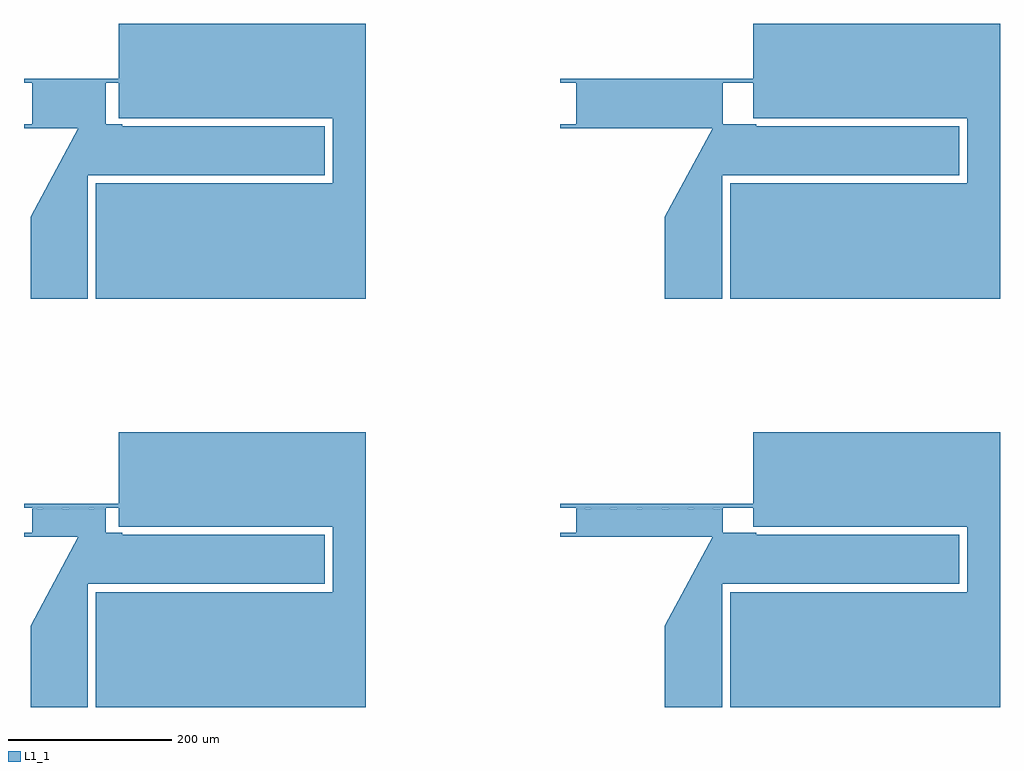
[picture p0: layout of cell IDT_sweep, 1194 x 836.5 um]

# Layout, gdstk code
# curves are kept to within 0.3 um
import gdstk
lib = gdstk.Library(unit=1e-6, precision=1e-09)
def P(c, l, *ps):  # polygons
    for p in ps: c.add(gdstk.Polygon(p, *l))
L1_1 = (1, 1)

idt_sweep = lib.new_cell('IDT_sweep')
P(idt_sweep, L1_1, [(2480,-216.5),(2480,-116.5),(2538.649,-8),(2352,-8),(2352,-3),(2371.355,-3),(2371.355,26.75),(2371.8,26.75),(2371.8,-3),(2373.155,-3),(2373.155,26.75),(2373.6,26.75),(2373.6,-3),(2374.955,-3),(2374.955,26.75),(2375.4,26.75),(2375.4,-3),(2376.755,-3),(2376.755,26.75),(2377.2,26.75),(2377.2,-3),(2378.555,-3),(2378.555,26.75),(2379,26.75),(2379,-3),(2380.355,-3),(2380.355,26.75),(2380.8,26.75),(2380.8,-3),(2382.155,-3),(2382.155,26.75),(2382.6,26.75),(2382.6,-3),(2383.955,-3),(2383.955,26.75),(2384.4,26.75),(2384.4,-3),(2385.755,-3),(2385.755,26.75),(2386.2,26.75),(2386.2,-3),(2387.555,-3),(2387.555,26.75),(2388,26.75),(2388,-3),(2389.355,-3),(2389.355,26.75),(2389.8,26.75),(2389.8,-3),(2391.155,-3),(2391.155,26.75),(2391.6,26.75),(2391.6,-3),(2392.955,-3),(2392.955,26.75),(2393.4,26.75),(2393.4,-3),(2394.755,-3),(2394.755,26.75),(2395.2,26.75),(2395.2,-3),(2396.555,-3),(2396.555,26.75),(2397,26.75),(2397,-3),(2398.355,-3),(2398.355,26.75),(2398.8,26.75),(2398.8,-3),(2400.155,-3),(2400.155,26.75),(2400.6,26.75),(2400.6,-3),(2401.955,-3),(2401.955,26.75),(2402.4,26.75),(2402.4,-3),(2403.755,-3),(2403.755,26.75),(2404.2,26.75),(2404.2,-3),(2405.555,-3),(2405.555,26.75),(2406,26.75),(2406,-3),(2407.355,-3),(2407.355,26.75),(2407.8,26.75),(2407.8,-3),(2409.155,-3),(2409.155,26.75),(2409.6,26.75),(2409.6,-3),(2410.955,-3),(2410.955,26.75),(2411.4,26.75),(2411.4,-3),(2412.755,-3),(2412.755,26.75),(2413.2,26.75),(2413.2,-3),(2414.555,-3),(2414.555,26.75),(2415,26.75),(2415,-3),(2416.355,-3),(2416.355,26.75),(2416.8,26.75),(2416.8,-3),(2418.155,-3),(2418.155,26.75),(2418.6,26.75),(2418.6,-3),(2419.955,-3),(2419.955,26.75),(2420.4,26.75),(2420.4,-3),(2421.755,-3),(2421.755,26.75),(2422.2,26.75),(2422.2,-3),(2423.555,-3),(2423.555,26.75),(2424,26.75),(2424,-3),(2425.355,-3),(2425.355,26.75),(2425.8,26.75),(2425.8,-3),(2427.155,-3),(2427.155,26.75),(2427.6,26.75),(2427.6,-3),(2428.955,-3),(2428.955,26.75),(2429.4,26.75),(2429.4,-3),(2430.755,-3),(2430.755,26.75),(2431.2,26.75),(2431.2,-3),(2432.555,-3),(2432.555,26.75),(2433,26.75),(2433,-3),(2434.355,-3),(2434.355,26.75),(2434.8,26.75),(2434.8,-3),(2436.155,-3),(2436.155,26.75),(2436.6,26.75),(2436.6,-3),(2437.955,-3),(2437.955,26.75),(2438.4,26.75),(2438.4,-3),(2439.755,-3),(2439.755,26.75),(2440.2,26.75),(2440.2,-3),(2441.555,-3),(2441.555,26.75),(2442,26.75),(2442,-3),(2443.355,-3),(2443.355,26.75),(2443.8,26.75),(2443.8,-3),(2445.155,-3),(2445.155,26.75),(2445.6,26.75),(2445.6,-3),(2446.955,-3),(2446.955,26.75),(2447.4,26.75),(2447.4,-3),(2448.755,-3),(2448.755,26.75),(2449.2,26.75),(2449.2,-3),(2450.555,-3),(2450.555,26.75),(2451,26.75),(2451,-3),(2452.355,-3),(2452.355,26.75),(2452.8,26.75),(2452.8,-3),(2454.155,-3),(2454.155,26.75),(2454.6,26.75),(2454.6,-3),(2455.955,-3),(2455.955,26.75),(2456.4,26.75),(2456.4,-3),(2457.755,-3),(2457.755,26.75),(2458.2,26.75),(2458.2,-3),(2459.555,-3),(2459.555,26.75),(2460,26.75),(2460,-3),(2461.355,-3),(2461.355,26.75),(2461.8,26.75),(2461.8,-3),(2463.155,-3),(2463.155,26.75),(2463.6,26.75),(2463.6,-3),(2464.955,-3),(2464.955,26.75),(2465.4,26.75),(2465.4,-3),(2466.755,-3),(2466.755,26.75),(2467.2,26.75),(2467.2,-3),(2468.555,-3),(2468.555,26.75),(2469,26.75),(2469,-3),(2470.355,-3),(2470.355,26.75),(2470.8,26.75),(2470.8,-3),(2472.155,-3),(2472.155,26.75),(2472.6,26.75),(2472.6,-3),(2473.955,-3),(2473.955,26.75),(2474.4,26.75),(2474.4,-3),(2475.755,-3),(2475.755,26.75),(2476.2,26.75),(2476.2,-3),(2477.555,-3),(2477.555,26.75),(2478,26.75),(2478,-3),(2479.355,-3),(2479.355,26.75),(2479.8,26.75),(2479.8,-3),(2481.155,-3),(2481.155,26.75),(2481.6,26.75),(2481.6,-3),(2482.955,-3),(2482.955,26.75),(2483.4,26.75),(2483.4,-3),(2484.755,-3),(2484.755,26.75),(2485.2,26.75),(2485.2,-3),(2486.555,-3),(2486.555,26.75),(2487,26.75),(2487,-3),(2488.355,-3),(2488.355,26.75),(2488.8,26.75),(2488.8,-3),(2490.155,-3),(2490.155,26.75),(2490.6,26.75),(2490.6,-3),(2491.955,-3),(2491.955,26.75),(2492.4,26.75),(2492.4,-3),(2493.755,-3),(2493.755,26.75),(2494.2,26.75),(2494.2,-3),(2495.555,-3),(2495.555,26.75),(2496,26.75),(2496,-3),(2497.355,-3),(2497.355,26.75),(2497.8,26.75),(2497.8,-3),(2499.155,-3),(2499.155,26.75),(2499.6,26.75),(2499.6,-3),(2500.955,-3),(2500.955,26.75),(2501.4,26.75),(2501.4,-3),(2502.755,-3),(2502.755,26.75),(2503.2,26.75),(2503.2,-3),(2504.555,-3),(2504.555,26.75),(2505,26.75),(2505,-3),(2506.355,-3),(2506.355,26.75),(2506.8,26.75),(2506.8,-3),(2508.155,-3),(2508.155,26.75),(2508.6,26.75),(2508.6,-3),(2509.955,-3),(2509.955,26.75),(2510.4,26.75),(2510.4,-3),(2511.755,-3),(2511.755,26.75),(2512.2,26.75),(2512.2,-3),(2513.555,-3),(2513.555,26.75),(2514,26.75),(2514,-3),(2515.355,-3),(2515.355,26.75),(2515.8,26.75),(2515.8,-3),(2517.155,-3),(2517.155,26.75),(2517.6,26.75),(2517.6,-3),(2518.955,-3),(2518.955,26.75),(2519.4,26.75),(2519.4,-3),(2520.755,-3),(2520.755,26.75),(2521.2,26.75),(2521.2,-3),(2522.555,-3),(2522.555,26.75),(2523,26.75),(2523,-3),(2524.355,-3),(2524.355,26.75),(2524.8,26.75),(2524.8,-3),(2526.155,-3),(2526.155,26.75),(2526.6,26.75),(2526.6,-3),(2527.955,-3),(2527.955,26.75),(2528.4,26.75),(2528.4,-3),(2529.755,-3),(2529.755,26.75),(2530.2,26.75),(2530.2,-3),(2531.555,-3),(2531.555,26.75),(2532,26.75),(2532,-3),(2533.355,-3),(2533.355,26.75),(2533.8,26.75),(2533.8,-3),(2535.155,-3),(2535.155,26.75),(2535.6,26.75),(2535.6,-3),(2536.955,-3),(2536.955,26.75),(2537.4,26.75),(2537.4,-3),(2538.755,-3),(2538.755,26.75),(2539.2,26.75),(2539.2,-3),(2540.555,-3),(2540.555,26.75),(2541,26.75),(2541,-3),(2542.355,-3),(2542.355,26.75),(2542.8,26.75),(2542.8,-3),(2544.155,-3),(2544.155,26.75),(2544.6,26.75),(2544.6,-3),(2545.955,-3),(2545.955,26.75),(2546.4,26.75),(2546.4,-3),(2547.755,-3),(2547.755,26.75),(2548.2,26.75),(2548.2,-3),(2549.555,-3),(2549.555,26.75),(2550,26.75),(2550,-3),(2592,-3),(2592,-5.5),(2840,-5.5),(2840,-65.5),(2550,-65.5),(2550,-216.5)],
  [(2560,-216.5),(2560,-75.5),(2850,-75.5),(2850,4.5),(2588,4.5),(2588,27.5),(2550.9,27.5),(2550.9,-2.25),(2550.455,-2.25),(2550.455,27.5),(2549.1,27.5),(2549.1,-2.25),(2548.655,-2.25),(2548.655,27.5),(2547.3,27.5),(2547.3,-2.25),(2546.855,-2.25),(2546.855,27.5),(2545.5,27.5),(2545.5,-2.25),(2545.055,-2.25),(2545.055,27.5),(2543.7,27.5),(2543.7,-2.25),(2543.255,-2.25),(2543.255,27.5),(2541.9,27.5),(2541.9,-2.25),(2541.455,-2.25),(2541.455,27.5),(2540.1,27.5),(2540.1,-2.25),(2539.655,-2.25),(2539.655,27.5),(2538.3,27.5),(2538.3,-2.25),(2537.855,-2.25),(2537.855,27.5),(2536.5,27.5),(2536.5,-2.25),(2536.055,-2.25),(2536.055,27.5),(2534.7,27.5),(2534.7,-2.25),(2534.255,-2.25),(2534.255,27.5),(2532.9,27.5),(2532.9,-2.25),(2532.455,-2.25),(2532.455,27.5),(2531.1,27.5),(2531.1,-2.25),(2530.655,-2.25),(2530.655,27.5),(2529.3,27.5),(2529.3,-2.25),(2528.855,-2.25),(2528.855,27.5),(2527.5,27.5),(2527.5,-2.25),(2527.055,-2.25),(2527.055,27.5),(2525.7,27.5),(2525.7,-2.25),(2525.255,-2.25),(2525.255,27.5),(2523.9,27.5),(2523.9,-2.25),(2523.455,-2.25),(2523.455,27.5),(2522.1,27.5),(2522.1,-2.25),(2521.655,-2.25),(2521.655,27.5),(2520.3,27.5),(2520.3,-2.25),(2519.855,-2.25),(2519.855,27.5),(2518.5,27.5),(2518.5,-2.25),(2518.055,-2.25),(2518.055,27.5),(2516.7,27.5),(2516.7,-2.25),(2516.255,-2.25),(2516.255,27.5),(2514.9,27.5),(2514.9,-2.25),(2514.455,-2.25),(2514.455,27.5),(2513.1,27.5),(2513.1,-2.25),(2512.655,-2.25),(2512.655,27.5),(2511.3,27.5),(2511.3,-2.25),(2510.855,-2.25),(2510.855,27.5),(2509.5,27.5),(2509.5,-2.25),(2509.055,-2.25),(2509.055,27.5),(2507.7,27.5),(2507.7,-2.25),(2507.255,-2.25),(2507.255,27.5),(2505.9,27.5),(2505.9,-2.25),(2505.455,-2.25),(2505.455,27.5),(2504.1,27.5),(2504.1,-2.25),(2503.655,-2.25),(2503.655,27.5),(2502.3,27.5),(2502.3,-2.25),(2501.855,-2.25),(2501.855,27.5),(2500.5,27.5),(2500.5,-2.25),(2500.055,-2.25),(2500.055,27.5),(2498.7,27.5),(2498.7,-2.25),(2498.255,-2.25),(2498.255,27.5),(2496.9,27.5),(2496.9,-2.25),(2496.455,-2.25),(2496.455,27.5),(2495.1,27.5),(2495.1,-2.25),(2494.655,-2.25),(2494.655,27.5),(2493.3,27.5),(2493.3,-2.25),(2492.855,-2.25),(2492.855,27.5),(2491.5,27.5),(2491.5,-2.25),(2491.055,-2.25),(2491.055,27.5),(2489.7,27.5),(2489.7,-2.25),(2489.255,-2.25),(2489.255,27.5),(2487.9,27.5),(2487.9,-2.25),(2487.455,-2.25),(2487.455,27.5),(2486.1,27.5),(2486.1,-2.25),(2485.655,-2.25),(2485.655,27.5),(2484.3,27.5),(2484.3,-2.25),(2483.855,-2.25),(2483.855,27.5),(2482.5,27.5),(2482.5,-2.25),(2482.055,-2.25),(2482.055,27.5),(2480.7,27.5),(2480.7,-2.25),(2480.255,-2.25),(2480.255,27.5),(2478.9,27.5),(2478.9,-2.25),(2478.455,-2.25),(2478.455,27.5),(2477.1,27.5),(2477.1,-2.25),(2476.655,-2.25),(2476.655,27.5),(2475.3,27.5),(2475.3,-2.25),(2474.855,-2.25),(2474.855,27.5),(2473.5,27.5),(2473.5,-2.25),(2473.055,-2.25),(2473.055,27.5),(2471.7,27.5),(2471.7,-2.25),(2471.255,-2.25),(2471.255,27.5),(2469.9,27.5),(2469.9,-2.25),(2469.455,-2.25),(2469.455,27.5),(2468.1,27.5),(2468.1,-2.25),(2467.655,-2.25),(2467.655,27.5),(2466.3,27.5),(2466.3,-2.25),(2465.855,-2.25),(2465.855,27.5),(2464.5,27.5),(2464.5,-2.25),(2464.055,-2.25),(2464.055,27.5),(2462.7,27.5),(2462.7,-2.25),(2462.255,-2.25),(2462.255,27.5),(2460.9,27.5),(2460.9,-2.25),(2460.455,-2.25),(2460.455,27.5),(2459.1,27.5),(2459.1,-2.25),(2458.655,-2.25),(2458.655,27.5),(2457.3,27.5),(2457.3,-2.25),(2456.855,-2.25),(2456.855,27.5),(2455.5,27.5),(2455.5,-2.25),(2455.055,-2.25),(2455.055,27.5),(2453.7,27.5),(2453.7,-2.25),(2453.255,-2.25),(2453.255,27.5),(2451.9,27.5),(2451.9,-2.25),(2451.455,-2.25),(2451.455,27.5),(2450.1,27.5),(2450.1,-2.25),(2449.655,-2.25),(2449.655,27.5),(2448.3,27.5),(2448.3,-2.25),(2447.855,-2.25),(2447.855,27.5),(2446.5,27.5),(2446.5,-2.25),(2446.055,-2.25),(2446.055,27.5),(2444.7,27.5),(2444.7,-2.25),(2444.255,-2.25),(2444.255,27.5),(2442.9,27.5),(2442.9,-2.25),(2442.455,-2.25),(2442.455,27.5),(2441.1,27.5),(2441.1,-2.25),(2440.655,-2.25),(2440.655,27.5),(2439.3,27.5),(2439.3,-2.25),(2438.855,-2.25),(2438.855,27.5),(2437.5,27.5),(2437.5,-2.25),(2437.055,-2.25),(2437.055,27.5),(2435.7,27.5),(2435.7,-2.25),(2435.255,-2.25),(2435.255,27.5),(2433.9,27.5),(2433.9,-2.25),(2433.455,-2.25),(2433.455,27.5),(2432.1,27.5),(2432.1,-2.25),(2431.655,-2.25),(2431.655,27.5),(2430.3,27.5),(2430.3,-2.25),(2429.855,-2.25),(2429.855,27.5),(2428.5,27.5),(2428.5,-2.25),(2428.055,-2.25),(2428.055,27.5),(2426.7,27.5),(2426.7,-2.25),(2426.255,-2.25),(2426.255,27.5),(2424.9,27.5),(2424.9,-2.25),(2424.455,-2.25),(2424.455,27.5),(2423.1,27.5),(2423.1,-2.25),(2422.655,-2.25),(2422.655,27.5),(2421.3,27.5),(2421.3,-2.25),(2420.855,-2.25),(2420.855,27.5),(2419.5,27.5),(2419.5,-2.25),(2419.055,-2.25),(2419.055,27.5),(2417.7,27.5),(2417.7,-2.25),(2417.255,-2.25),(2417.255,27.5),(2415.9,27.5),(2415.9,-2.25),(2415.455,-2.25),(2415.455,27.5),(2414.1,27.5),(2414.1,-2.25),(2413.655,-2.25),(2413.655,27.5),(2412.3,27.5),(2412.3,-2.25),(2411.855,-2.25),(2411.855,27.5),(2410.5,27.5),(2410.5,-2.25),(2410.055,-2.25),(2410.055,27.5),(2408.7,27.5),(2408.7,-2.25),(2408.255,-2.25),(2408.255,27.5),(2406.9,27.5),(2406.9,-2.25),(2406.455,-2.25),(2406.455,27.5),(2405.1,27.5),(2405.1,-2.25),(2404.655,-2.25),(2404.655,27.5),(2403.3,27.5),(2403.3,-2.25),(2402.855,-2.25),(2402.855,27.5),(2401.5,27.5),(2401.5,-2.25),(2401.055,-2.25),(2401.055,27.5),(2399.7,27.5),(2399.7,-2.25),(2399.255,-2.25),(2399.255,27.5),(2397.9,27.5),(2397.9,-2.25),(2397.455,-2.25),(2397.455,27.5),(2396.1,27.5),(2396.1,-2.25),(2395.655,-2.25),(2395.655,27.5),(2394.3,27.5),(2394.3,-2.25),(2393.855,-2.25),(2393.855,27.5),(2392.5,27.5),(2392.5,-2.25),(2392.055,-2.25),(2392.055,27.5),(2390.7,27.5),(2390.7,-2.25),(2390.255,-2.25),(2390.255,27.5),(2388.9,27.5),(2388.9,-2.25),(2388.455,-2.25),(2388.455,27.5),(2387.1,27.5),(2387.1,-2.25),(2386.655,-2.25),(2386.655,27.5),(2385.3,27.5),(2385.3,-2.25),(2384.855,-2.25),(2384.855,27.5),(2383.5,27.5),(2383.5,-2.25),(2383.055,-2.25),(2383.055,27.5),(2381.7,27.5),(2381.7,-2.25),(2381.255,-2.25),(2381.255,27.5),(2379.9,27.5),(2379.9,-2.25),(2379.455,-2.25),(2379.455,27.5),(2378.1,27.5),(2378.1,-2.25),(2377.655,-2.25),(2377.655,27.5),(2376.3,27.5),(2376.3,-2.25),(2375.855,-2.25),(2375.855,27.5),(2374.5,27.5),(2374.5,-2.25),(2374.055,-2.25),(2374.055,27.5),(2372.7,27.5),(2372.7,-2.25),(2372.255,-2.25),(2372.255,27.5),(2352,27.5),(2352,32.5),(2588,32.5),(2588,120),(2890,120),(2890,-216.5),(2560,-216.5)],
  [(2480,283.5),(2480,383.5),(2538.649,492),(2352,492),(2352,497),(2371.355,497),(2371.355,546.75),(2371.8,546.75),(2371.8,497),(2373.155,497),(2373.155,546.75),(2373.6,546.75),(2373.6,497),(2374.955,497),(2374.955,546.75),(2375.4,546.75),(2375.4,497),(2376.755,497),(2376.755,546.75),(2377.2,546.75),(2377.2,497),(2378.555,497),(2378.555,546.75),(2379,546.75),(2379,497),(2380.355,497),(2380.355,546.75),(2380.8,546.75),(2380.8,497),(2382.155,497),(2382.155,546.75),(2382.6,546.75),(2382.6,497),(2383.955,497),(2383.955,546.75),(2384.4,546.75),(2384.4,497),(2385.755,497),(2385.755,546.75),(2386.2,546.75),(2386.2,497),(2387.555,497),(2387.555,546.75),(2388,546.75),(2388,497),(2389.355,497),(2389.355,546.75),(2389.8,546.75),(2389.8,497),(2391.155,497),(2391.155,546.75),(2391.6,546.75),(2391.6,497),(2392.955,497),(2392.955,546.75),(2393.4,546.75),(2393.4,497),(2394.755,497),(2394.755,546.75),(2395.2,546.75),(2395.2,497),(2396.555,497),(2396.555,546.75),(2397,546.75),(2397,497),(2398.355,497),(2398.355,546.75),(2398.8,546.75),(2398.8,497),(2400.155,497),(2400.155,546.75),(2400.6,546.75),(2400.6,497),(2401.955,497),(2401.955,546.75),(2402.4,546.75),(2402.4,497),(2403.755,497),(2403.755,546.75),(2404.2,546.75),(2404.2,497),(2405.555,497),(2405.555,546.75),(2406,546.75),(2406,497),(2407.355,497),(2407.355,546.75),(2407.8,546.75),(2407.8,497),(2409.155,497),(2409.155,546.75),(2409.6,546.75),(2409.6,497),(2410.955,497),(2410.955,546.75),(2411.4,546.75),(2411.4,497),(2412.755,497),(2412.755,546.75),(2413.2,546.75),(2413.2,497),(2414.555,497),(2414.555,546.75),(2415,546.75),(2415,497),(2416.355,497),(2416.355,546.75),(2416.8,546.75),(2416.8,497),(2418.155,497),(2418.155,546.75),(2418.6,546.75),(2418.6,497),(2419.955,497),(2419.955,546.75),(2420.4,546.75),(2420.4,497),(2421.755,497),(2421.755,546.75),(2422.2,546.75),(2422.2,497),(2423.555,497),(2423.555,546.75),(2424,546.75),(2424,497),(2425.355,497),(2425.355,546.75),(2425.8,546.75),(2425.8,497),(2427.155,497),(2427.155,546.75),(2427.6,546.75),(2427.6,497),(2428.955,497),(2428.955,546.75),(2429.4,546.75),(2429.4,497),(2430.755,497),(2430.755,546.75),(2431.2,546.75),(2431.2,497),(2432.555,497),(2432.555,546.75),(2433,546.75),(2433,497),(2434.355,497),(2434.355,546.75),(2434.8,546.75),(2434.8,497),(2436.155,497),(2436.155,546.75),(2436.6,546.75),(2436.6,497),(2437.955,497),(2437.955,546.75),(2438.4,546.75),(2438.4,497),(2439.755,497),(2439.755,546.75),(2440.2,546.75),(2440.2,497),(2441.555,497),(2441.555,546.75),(2442,546.75),(2442,497),(2443.355,497),(2443.355,546.75),(2443.8,546.75),(2443.8,497),(2445.155,497),(2445.155,546.75),(2445.6,546.75),(2445.6,497),(2446.955,497),(2446.955,546.75),(2447.4,546.75),(2447.4,497),(2448.755,497),(2448.755,546.75),(2449.2,546.75),(2449.2,497),(2450.555,497),(2450.555,546.75),(2451,546.75),(2451,497),(2452.355,497),(2452.355,546.75),(2452.8,546.75),(2452.8,497),(2454.155,497),(2454.155,546.75),(2454.6,546.75),(2454.6,497),(2455.955,497),(2455.955,546.75),(2456.4,546.75),(2456.4,497),(2457.755,497),(2457.755,546.75),(2458.2,546.75),(2458.2,497),(2459.555,497),(2459.555,546.75),(2460,546.75),(2460,497),(2461.355,497),(2461.355,546.75),(2461.8,546.75),(2461.8,497),(2463.155,497),(2463.155,546.75),(2463.6,546.75),(2463.6,497),(2464.955,497),(2464.955,546.75),(2465.4,546.75),(2465.4,497),(2466.755,497),(2466.755,546.75),(2467.2,546.75),(2467.2,497),(2468.555,497),(2468.555,546.75),(2469,546.75),(2469,497),(2470.355,497),(2470.355,546.75),(2470.8,546.75),(2470.8,497),(2472.155,497),(2472.155,546.75),(2472.6,546.75),(2472.6,497),(2473.955,497),(2473.955,546.75),(2474.4,546.75),(2474.4,497),(2475.755,497),(2475.755,546.75),(2476.2,546.75),(2476.2,497),(2477.555,497),(2477.555,546.75),(2478,546.75),(2478,497),(2479.355,497),(2479.355,546.75),(2479.8,546.75),(2479.8,497),(2481.155,497),(2481.155,546.75),(2481.6,546.75),(2481.6,497),(2482.955,497),(2482.955,546.75),(2483.4,546.75),(2483.4,497),(2484.755,497),(2484.755,546.75),(2485.2,546.75),(2485.2,497),(2486.555,497),(2486.555,546.75),(2487,546.75),(2487,497),(2488.355,497),(2488.355,546.75),(2488.8,546.75),(2488.8,497),(2490.155,497),(2490.155,546.75),(2490.6,546.75),(2490.6,497),(2491.955,497),(2491.955,546.75),(2492.4,546.75),(2492.4,497),(2493.755,497),(2493.755,546.75),(2494.2,546.75),(2494.2,497),(2495.555,497),(2495.555,546.75),(2496,546.75),(2496,497),(2497.355,497),(2497.355,546.75),(2497.8,546.75),(2497.8,497),(2499.155,497),(2499.155,546.75),(2499.6,546.75),(2499.6,497),(2500.955,497),(2500.955,546.75),(2501.4,546.75),(2501.4,497),(2502.755,497),(2502.755,546.75),(2503.2,546.75),(2503.2,497),(2504.555,497),(2504.555,546.75),(2505,546.75),(2505,497),(2506.355,497),(2506.355,546.75),(2506.8,546.75),(2506.8,497),(2508.155,497),(2508.155,546.75),(2508.6,546.75),(2508.6,497),(2509.955,497),(2509.955,546.75),(2510.4,546.75),(2510.4,497),(2511.755,497),(2511.755,546.75),(2512.2,546.75),(2512.2,497),(2513.555,497),(2513.555,546.75),(2514,546.75),(2514,497),(2515.355,497),(2515.355,546.75),(2515.8,546.75),(2515.8,497),(2517.155,497),(2517.155,546.75),(2517.6,546.75),(2517.6,497),(2518.955,497),(2518.955,546.75),(2519.4,546.75),(2519.4,497),(2520.755,497),(2520.755,546.75),(2521.2,546.75),(2521.2,497),(2522.555,497),(2522.555,546.75),(2523,546.75),(2523,497),(2524.355,497),(2524.355,546.75),(2524.8,546.75),(2524.8,497),(2526.155,497),(2526.155,546.75),(2526.6,546.75),(2526.6,497),(2527.955,497),(2527.955,546.75),(2528.4,546.75),(2528.4,497),(2529.755,497),(2529.755,546.75),(2530.2,546.75),(2530.2,497),(2531.555,497),(2531.555,546.75),(2532,546.75),(2532,497),(2533.355,497),(2533.355,546.75),(2533.8,546.75),(2533.8,497),(2535.155,497),(2535.155,546.75),(2535.6,546.75),(2535.6,497),(2536.955,497),(2536.955,546.75),(2537.4,546.75),(2537.4,497),(2538.755,497),(2538.755,546.75),(2539.2,546.75),(2539.2,497),(2540.555,497),(2540.555,546.75),(2541,546.75),(2541,497),(2542.355,497),(2542.355,546.75),(2542.8,546.75),(2542.8,497),(2544.155,497),(2544.155,546.75),(2544.6,546.75),(2544.6,497),(2545.955,497),(2545.955,546.75),(2546.4,546.75),(2546.4,497),(2547.755,497),(2547.755,546.75),(2548.2,546.75),(2548.2,497),(2549.555,497),(2549.555,546.75),(2550,546.75),(2550,497),(2592,497),(2592,494.5),(2840,494.5),(2840,434.5),(2550,434.5),(2550,283.5)],
  [(2560,283.5),(2560,424.5),(2850,424.5),(2850,504.5),(2588,504.5),(2588,547.5),(2550.9,547.5),(2550.9,497.75),(2550.455,497.75),(2550.455,547.5),(2549.1,547.5),(2549.1,497.75),(2548.655,497.75),(2548.655,547.5),(2547.3,547.5),(2547.3,497.75),(2546.855,497.75),(2546.855,547.5),(2545.5,547.5),(2545.5,497.75),(2545.055,497.75),(2545.055,547.5),(2543.7,547.5),(2543.7,497.75),(2543.255,497.75),(2543.255,547.5),(2541.9,547.5),(2541.9,497.75),(2541.455,497.75),(2541.455,547.5),(2540.1,547.5),(2540.1,497.75),(2539.655,497.75),(2539.655,547.5),(2538.3,547.5),(2538.3,497.75),(2537.855,497.75),(2537.855,547.5),(2536.5,547.5),(2536.5,497.75),(2536.055,497.75),(2536.055,547.5),(2534.7,547.5),(2534.7,497.75),(2534.255,497.75),(2534.255,547.5),(2532.9,547.5),(2532.9,497.75),(2532.455,497.75),(2532.455,547.5),(2531.1,547.5),(2531.1,497.75),(2530.655,497.75),(2530.655,547.5),(2529.3,547.5),(2529.3,497.75),(2528.855,497.75),(2528.855,547.5),(2527.5,547.5),(2527.5,497.75),(2527.055,497.75),(2527.055,547.5),(2525.7,547.5),(2525.7,497.75),(2525.255,497.75),(2525.255,547.5),(2523.9,547.5),(2523.9,497.75),(2523.455,497.75),(2523.455,547.5),(2522.1,547.5),(2522.1,497.75),(2521.655,497.75),(2521.655,547.5),(2520.3,547.5),(2520.3,497.75),(2519.855,497.75),(2519.855,547.5),(2518.5,547.5),(2518.5,497.75),(2518.055,497.75),(2518.055,547.5),(2516.7,547.5),(2516.7,497.75),(2516.255,497.75),(2516.255,547.5),(2514.9,547.5),(2514.9,497.75),(2514.455,497.75),(2514.455,547.5),(2513.1,547.5),(2513.1,497.75),(2512.655,497.75),(2512.655,547.5),(2511.3,547.5),(2511.3,497.75),(2510.855,497.75),(2510.855,547.5),(2509.5,547.5),(2509.5,497.75),(2509.055,497.75),(2509.055,547.5),(2507.7,547.5),(2507.7,497.75),(2507.255,497.75),(2507.255,547.5),(2505.9,547.5),(2505.9,497.75),(2505.455,497.75),(2505.455,547.5),(2504.1,547.5),(2504.1,497.75),(2503.655,497.75),(2503.655,547.5),(2502.3,547.5),(2502.3,497.75),(2501.855,497.75),(2501.855,547.5),(2500.5,547.5),(2500.5,497.75),(2500.055,497.75),(2500.055,547.5),(2498.7,547.5),(2498.7,497.75),(2498.255,497.75),(2498.255,547.5),(2496.9,547.5),(2496.9,497.75),(2496.455,497.75),(2496.455,547.5),(2495.1,547.5),(2495.1,497.75),(2494.655,497.75),(2494.655,547.5),(2493.3,547.5),(2493.3,497.75),(2492.855,497.75),(2492.855,547.5),(2491.5,547.5),(2491.5,497.75),(2491.055,497.75),(2491.055,547.5),(2489.7,547.5),(2489.7,497.75),(2489.255,497.75),(2489.255,547.5),(2487.9,547.5),(2487.9,497.75),(2487.455,497.75),(2487.455,547.5),(2486.1,547.5),(2486.1,497.75),(2485.655,497.75),(2485.655,547.5),(2484.3,547.5),(2484.3,497.75),(2483.855,497.75),(2483.855,547.5),(2482.5,547.5),(2482.5,497.75),(2482.055,497.75),(2482.055,547.5),(2480.7,547.5),(2480.7,497.75),(2480.255,497.75),(2480.255,547.5),(2478.9,547.5),(2478.9,497.75),(2478.455,497.75),(2478.455,547.5),(2477.1,547.5),(2477.1,497.75),(2476.655,497.75),(2476.655,547.5),(2475.3,547.5),(2475.3,497.75),(2474.855,497.75),(2474.855,547.5),(2473.5,547.5),(2473.5,497.75),(2473.055,497.75),(2473.055,547.5),(2471.7,547.5),(2471.7,497.75),(2471.255,497.75),(2471.255,547.5),(2469.9,547.5),(2469.9,497.75),(2469.455,497.75),(2469.455,547.5),(2468.1,547.5),(2468.1,497.75),(2467.655,497.75),(2467.655,547.5),(2466.3,547.5),(2466.3,497.75),(2465.855,497.75),(2465.855,547.5),(2464.5,547.5),(2464.5,497.75),(2464.055,497.75),(2464.055,547.5),(2462.7,547.5),(2462.7,497.75),(2462.255,497.75),(2462.255,547.5),(2460.9,547.5),(2460.9,497.75),(2460.455,497.75),(2460.455,547.5),(2459.1,547.5),(2459.1,497.75),(2458.655,497.75),(2458.655,547.5),(2457.3,547.5),(2457.3,497.75),(2456.855,497.75),(2456.855,547.5),(2455.5,547.5),(2455.5,497.75),(2455.055,497.75),(2455.055,547.5),(2453.7,547.5),(2453.7,497.75),(2453.255,497.75),(2453.255,547.5),(2451.9,547.5),(2451.9,497.75),(2451.455,497.75),(2451.455,547.5),(2450.1,547.5),(2450.1,497.75),(2449.655,497.75),(2449.655,547.5),(2448.3,547.5),(2448.3,497.75),(2447.855,497.75),(2447.855,547.5),(2446.5,547.5),(2446.5,497.75),(2446.055,497.75),(2446.055,547.5),(2444.7,547.5),(2444.7,497.75),(2444.255,497.75),(2444.255,547.5),(2442.9,547.5),(2442.9,497.75),(2442.455,497.75),(2442.455,547.5),(2441.1,547.5),(2441.1,497.75),(2440.655,497.75),(2440.655,547.5),(2439.3,547.5),(2439.3,497.75),(2438.855,497.75),(2438.855,547.5),(2437.5,547.5),(2437.5,497.75),(2437.055,497.75),(2437.055,547.5),(2435.7,547.5),(2435.7,497.75),(2435.255,497.75),(2435.255,547.5),(2433.9,547.5),(2433.9,497.75),(2433.455,497.75),(2433.455,547.5),(2432.1,547.5),(2432.1,497.75),(2431.655,497.75),(2431.655,547.5),(2430.3,547.5),(2430.3,497.75),(2429.855,497.75),(2429.855,547.5),(2428.5,547.5),(2428.5,497.75),(2428.055,497.75),(2428.055,547.5),(2426.7,547.5),(2426.7,497.75),(2426.255,497.75),(2426.255,547.5),(2424.9,547.5),(2424.9,497.75),(2424.455,497.75),(2424.455,547.5),(2423.1,547.5),(2423.1,497.75),(2422.655,497.75),(2422.655,547.5),(2421.3,547.5),(2421.3,497.75),(2420.855,497.75),(2420.855,547.5),(2419.5,547.5),(2419.5,497.75),(2419.055,497.75),(2419.055,547.5),(2417.7,547.5),(2417.7,497.75),(2417.255,497.75),(2417.255,547.5),(2415.9,547.5),(2415.9,497.75),(2415.455,497.75),(2415.455,547.5),(2414.1,547.5),(2414.1,497.75),(2413.655,497.75),(2413.655,547.5),(2412.3,547.5),(2412.3,497.75),(2411.855,497.75),(2411.855,547.5),(2410.5,547.5),(2410.5,497.75),(2410.055,497.75),(2410.055,547.5),(2408.7,547.5),(2408.7,497.75),(2408.255,497.75),(2408.255,547.5),(2406.9,547.5),(2406.9,497.75),(2406.455,497.75),(2406.455,547.5),(2405.1,547.5),(2405.1,497.75),(2404.655,497.75),(2404.655,547.5),(2403.3,547.5),(2403.3,497.75),(2402.855,497.75),(2402.855,547.5),(2401.5,547.5),(2401.5,497.75),(2401.055,497.75),(2401.055,547.5),(2399.7,547.5),(2399.7,497.75),(2399.255,497.75),(2399.255,547.5),(2397.9,547.5),(2397.9,497.75),(2397.455,497.75),(2397.455,547.5),(2396.1,547.5),(2396.1,497.75),(2395.655,497.75),(2395.655,547.5),(2394.3,547.5),(2394.3,497.75),(2393.855,497.75),(2393.855,547.5),(2392.5,547.5),(2392.5,497.75),(2392.055,497.75),(2392.055,547.5),(2390.7,547.5),(2390.7,497.75),(2390.255,497.75),(2390.255,547.5),(2388.9,547.5),(2388.9,497.75),(2388.455,497.75),(2388.455,547.5),(2387.1,547.5),(2387.1,497.75),(2386.655,497.75),(2386.655,547.5),(2385.3,547.5),(2385.3,497.75),(2384.855,497.75),(2384.855,547.5),(2383.5,547.5),(2383.5,497.75),(2383.055,497.75),(2383.055,547.5),(2381.7,547.5),(2381.7,497.75),(2381.255,497.75),(2381.255,547.5),(2379.9,547.5),(2379.9,497.75),(2379.455,497.75),(2379.455,547.5),(2378.1,547.5),(2378.1,497.75),(2377.655,497.75),(2377.655,547.5),(2376.3,547.5),(2376.3,497.75),(2375.855,497.75),(2375.855,547.5),(2374.5,547.5),(2374.5,497.75),(2374.055,497.75),(2374.055,547.5),(2372.7,547.5),(2372.7,497.75),(2372.255,497.75),(2372.255,547.5),(2352,547.5),(2352,552.5),(2588,552.5),(2588,620),(2890,620),(2890,283.5),(2560,283.5)],
  [(1704,-216.5),(1704,-116.5),(1762.649,-8),(1696,-8),(1696,-3),(1706.355,-3),(1706.355,26.75),(1706.8,26.75),(1706.8,-3),(1708.155,-3),(1708.155,26.75),(1708.6,26.75),(1708.6,-3),(1709.955,-3),(1709.955,26.75),(1710.4,26.75),(1710.4,-3),(1711.755,-3),(1711.755,26.75),(1712.2,26.75),(1712.2,-3),(1713.555,-3),(1713.555,26.75),(1714,26.75),(1714,-3),(1715.355,-3),(1715.355,26.75),(1715.8,26.75),(1715.8,-3),(1717.155,-3),(1717.155,26.75),(1717.6,26.75),(1717.6,-3),(1718.955,-3),(1718.955,26.75),(1719.4,26.75),(1719.4,-3),(1720.755,-3),(1720.755,26.75),(1721.2,26.75),(1721.2,-3),(1722.555,-3),(1722.555,26.75),(1723,26.75),(1723,-3),(1724.355,-3),(1724.355,26.75),(1724.8,26.75),(1724.8,-3),(1726.155,-3),(1726.155,26.75),(1726.6,26.75),(1726.6,-3),(1727.955,-3),(1727.955,26.75),(1728.4,26.75),(1728.4,-3),(1729.755,-3),(1729.755,26.75),(1730.2,26.75),(1730.2,-3),(1731.555,-3),(1731.555,26.75),(1732,26.75),(1732,-3),(1733.355,-3),(1733.355,26.75),(1733.8,26.75),(1733.8,-3),(1735.155,-3),(1735.155,26.75),(1735.6,26.75),(1735.6,-3),(1736.955,-3),(1736.955,26.75),(1737.4,26.75),(1737.4,-3),(1738.755,-3),(1738.755,26.75),(1739.2,26.75),(1739.2,-3),(1740.555,-3),(1740.555,26.75),(1741,26.75),(1741,-3),(1742.355,-3),(1742.355,26.75),(1742.8,26.75),(1742.8,-3),(1744.155,-3),(1744.155,26.75),(1744.6,26.75),(1744.6,-3),(1745.955,-3),(1745.955,26.75),(1746.4,26.75),(1746.4,-3),(1747.755,-3),(1747.755,26.75),(1748.2,26.75),(1748.2,-3),(1749.555,-3),(1749.555,26.75),(1750,26.75),(1750,-3),(1751.355,-3),(1751.355,26.75),(1751.8,26.75),(1751.8,-3),(1753.155,-3),(1753.155,26.75),(1753.6,26.75),(1753.6,-3),(1754.955,-3),(1754.955,26.75),(1755.4,26.75),(1755.4,-3),(1756.755,-3),(1756.755,26.75),(1757.2,26.75),(1757.2,-3),(1758.555,-3),(1758.555,26.75),(1759,26.75),(1759,-3),(1760.355,-3),(1760.355,26.75),(1760.8,26.75),(1760.8,-3),(1762.155,-3),(1762.155,26.75),(1762.6,26.75),(1762.6,-3),(1763.955,-3),(1763.955,26.75),(1764.4,26.75),(1764.4,-3),(1765.755,-3),(1765.755,26.75),(1766.2,26.75),(1766.2,-3),(1767.555,-3),(1767.555,26.75),(1768,26.75),(1768,-3),(1769.355,-3),(1769.355,26.75),(1769.8,26.75),(1769.8,-3),(1771.155,-3),(1771.155,26.75),(1771.6,26.75),(1771.6,-3),(1772.955,-3),(1772.955,26.75),(1773.4,26.75),(1773.4,-3),(1774.755,-3),(1774.755,26.75),(1775.2,26.75),(1775.2,-3),(1776.555,-3),(1776.555,26.75),(1777,26.75),(1777,-3),(1778.355,-3),(1778.355,26.75),(1778.8,26.75),(1778.8,-3),(1780.155,-3),(1780.155,26.75),(1780.6,26.75),(1780.6,-3),(1781.955,-3),(1781.955,26.75),(1782.4,26.75),(1782.4,-3),(1783.755,-3),(1783.755,26.75),(1784.2,26.75),(1784.2,-3),(1785.555,-3),(1785.555,26.75),(1786,26.75),(1786,-3),(1787.355,-3),(1787.355,26.75),(1787.8,26.75),(1787.8,-3),(1789.155,-3),(1789.155,26.75),(1789.6,26.75),(1789.6,-3),(1790.955,-3),(1790.955,26.75),(1791.4,26.75),(1791.4,-3),(1792.755,-3),(1792.755,26.75),(1793.2,26.75),(1793.2,-3),(1794.555,-3),(1794.555,26.75),(1795,26.75),(1795,-3),(1816,-3),(1816,-5.5),(2064,-5.5),(2064,-65.5),(1774,-65.5),(1774,-216.5)],
  [(1784,-216.5),(1784,-75.5),(2074,-75.5),(2074,4.5),(1812,4.5),(1812,27.5),(1795.9,27.5),(1795.9,-2.25),(1795.455,-2.25),(1795.455,27.5),(1794.1,27.5),(1794.1,-2.25),(1793.655,-2.25),(1793.655,27.5),(1792.3,27.5),(1792.3,-2.25),(1791.855,-2.25),(1791.855,27.5),(1790.5,27.5),(1790.5,-2.25),(1790.055,-2.25),(1790.055,27.5),(1788.7,27.5),(1788.7,-2.25),(1788.255,-2.25),(1788.255,27.5),(1786.9,27.5),(1786.9,-2.25),(1786.455,-2.25),(1786.455,27.5),(1785.1,27.5),(1785.1,-2.25),(1784.655,-2.25),(1784.655,27.5),(1783.3,27.5),(1783.3,-2.25),(1782.855,-2.25),(1782.855,27.5),(1781.5,27.5),(1781.5,-2.25),(1781.055,-2.25),(1781.055,27.5),(1779.7,27.5),(1779.7,-2.25),(1779.255,-2.25),(1779.255,27.5),(1777.9,27.5),(1777.9,-2.25),(1777.455,-2.25),(1777.455,27.5),(1776.1,27.5),(1776.1,-2.25),(1775.655,-2.25),(1775.655,27.5),(1774.3,27.5),(1774.3,-2.25),(1773.855,-2.25),(1773.855,27.5),(1772.5,27.5),(1772.5,-2.25),(1772.055,-2.25),(1772.055,27.5),(1770.7,27.5),(1770.7,-2.25),(1770.255,-2.25),(1770.255,27.5),(1768.9,27.5),(1768.9,-2.25),(1768.455,-2.25),(1768.455,27.5),(1767.1,27.5),(1767.1,-2.25),(1766.655,-2.25),(1766.655,27.5),(1765.3,27.5),(1765.3,-2.25),(1764.855,-2.25),(1764.855,27.5),(1763.5,27.5),(1763.5,-2.25),(1763.055,-2.25),(1763.055,27.5),(1761.7,27.5),(1761.7,-2.25),(1761.255,-2.25),(1761.255,27.5),(1759.9,27.5),(1759.9,-2.25),(1759.455,-2.25),(1759.455,27.5),(1758.1,27.5),(1758.1,-2.25),(1757.655,-2.25),(1757.655,27.5),(1756.3,27.5),(1756.3,-2.25),(1755.855,-2.25),(1755.855,27.5),(1754.5,27.5),(1754.5,-2.25),(1754.055,-2.25),(1754.055,27.5),(1752.7,27.5),(1752.7,-2.25),(1752.255,-2.25),(1752.255,27.5),(1750.9,27.5),(1750.9,-2.25),(1750.455,-2.25),(1750.455,27.5),(1749.1,27.5),(1749.1,-2.25),(1748.655,-2.25),(1748.655,27.5),(1747.3,27.5),(1747.3,-2.25),(1746.855,-2.25),(1746.855,27.5),(1745.5,27.5),(1745.5,-2.25),(1745.055,-2.25),(1745.055,27.5),(1743.7,27.5),(1743.7,-2.25),(1743.255,-2.25),(1743.255,27.5),(1741.9,27.5),(1741.9,-2.25),(1741.455,-2.25),(1741.455,27.5),(1740.1,27.5),(1740.1,-2.25),(1739.655,-2.25),(1739.655,27.5),(1738.3,27.5),(1738.3,-2.25),(1737.855,-2.25),(1737.855,27.5),(1736.5,27.5),(1736.5,-2.25),(1736.055,-2.25),(1736.055,27.5),(1734.7,27.5),(1734.7,-2.25),(1734.255,-2.25),(1734.255,27.5),(1732.9,27.5),(1732.9,-2.25),(1732.455,-2.25),(1732.455,27.5),(1731.1,27.5),(1731.1,-2.25),(1730.655,-2.25),(1730.655,27.5),(1729.3,27.5),(1729.3,-2.25),(1728.855,-2.25),(1728.855,27.5),(1727.5,27.5),(1727.5,-2.25),(1727.055,-2.25),(1727.055,27.5),(1725.7,27.5),(1725.7,-2.25),(1725.255,-2.25),(1725.255,27.5),(1723.9,27.5),(1723.9,-2.25),(1723.455,-2.25),(1723.455,27.5),(1722.1,27.5),(1722.1,-2.25),(1721.655,-2.25),(1721.655,27.5),(1720.3,27.5),(1720.3,-2.25),(1719.855,-2.25),(1719.855,27.5),(1718.5,27.5),(1718.5,-2.25),(1718.055,-2.25),(1718.055,27.5),(1716.7,27.5),(1716.7,-2.25),(1716.255,-2.25),(1716.255,27.5),(1714.9,27.5),(1714.9,-2.25),(1714.455,-2.25),(1714.455,27.5),(1713.1,27.5),(1713.1,-2.25),(1712.655,-2.25),(1712.655,27.5),(1711.3,27.5),(1711.3,-2.25),(1710.855,-2.25),(1710.855,27.5),(1709.5,27.5),(1709.5,-2.25),(1709.055,-2.25),(1709.055,27.5),(1707.7,27.5),(1707.7,-2.25),(1707.255,-2.25),(1707.255,27.5),(1696,27.5),(1696,32.5),(1812,32.5),(1812,120),(2114,120),(2114,-216.5),(1784,-216.5)],
  [(1704,283.5),(1704,383.5),(1762.649,492),(1696,492),(1696,497),(1706.355,497),(1706.355,546.75),(1706.8,546.75),(1706.8,497),(1708.155,497),(1708.155,546.75),(1708.6,546.75),(1708.6,497),(1709.955,497),(1709.955,546.75),(1710.4,546.75),(1710.4,497),(1711.755,497),(1711.755,546.75),(1712.2,546.75),(1712.2,497),(1713.555,497),(1713.555,546.75),(1714,546.75),(1714,497),(1715.355,497),(1715.355,546.75),(1715.8,546.75),(1715.8,497),(1717.155,497),(1717.155,546.75),(1717.6,546.75),(1717.6,497),(1718.955,497),(1718.955,546.75),(1719.4,546.75),(1719.4,497),(1720.755,497),(1720.755,546.75),(1721.2,546.75),(1721.2,497),(1722.555,497),(1722.555,546.75),(1723,546.75),(1723,497),(1724.355,497),(1724.355,546.75),(1724.8,546.75),(1724.8,497),(1726.155,497),(1726.155,546.75),(1726.6,546.75),(1726.6,497),(1727.955,497),(1727.955,546.75),(1728.4,546.75),(1728.4,497),(1729.755,497),(1729.755,546.75),(1730.2,546.75),(1730.2,497),(1731.555,497),(1731.555,546.75),(1732,546.75),(1732,497),(1733.355,497),(1733.355,546.75),(1733.8,546.75),(1733.8,497),(1735.155,497),(1735.155,546.75),(1735.6,546.75),(1735.6,497),(1736.955,497),(1736.955,546.75),(1737.4,546.75),(1737.4,497),(1738.755,497),(1738.755,546.75),(1739.2,546.75),(1739.2,497),(1740.555,497),(1740.555,546.75),(1741,546.75),(1741,497),(1742.355,497),(1742.355,546.75),(1742.8,546.75),(1742.8,497),(1744.155,497),(1744.155,546.75),(1744.6,546.75),(1744.6,497),(1745.955,497),(1745.955,546.75),(1746.4,546.75),(1746.4,497),(1747.755,497),(1747.755,546.75),(1748.2,546.75),(1748.2,497),(1749.555,497),(1749.555,546.75),(1750,546.75),(1750,497),(1751.355,497),(1751.355,546.75),(1751.8,546.75),(1751.8,497),(1753.155,497),(1753.155,546.75),(1753.6,546.75),(1753.6,497),(1754.955,497),(1754.955,546.75),(1755.4,546.75),(1755.4,497),(1756.755,497),(1756.755,546.75),(1757.2,546.75),(1757.2,497),(1758.555,497),(1758.555,546.75),(1759,546.75),(1759,497),(1760.355,497),(1760.355,546.75),(1760.8,546.75),(1760.8,497),(1762.155,497),(1762.155,546.75),(1762.6,546.75),(1762.6,497),(1763.955,497),(1763.955,546.75),(1764.4,546.75),(1764.4,497),(1765.755,497),(1765.755,546.75),(1766.2,546.75),(1766.2,497),(1767.555,497),(1767.555,546.75),(1768,546.75),(1768,497),(1769.355,497),(1769.355,546.75),(1769.8,546.75),(1769.8,497),(1771.155,497),(1771.155,546.75),(1771.6,546.75),(1771.6,497),(1772.955,497),(1772.955,546.75),(1773.4,546.75),(1773.4,497),(1774.755,497),(1774.755,546.75),(1775.2,546.75),(1775.2,497),(1776.555,497),(1776.555,546.75),(1777,546.75),(1777,497),(1778.355,497),(1778.355,546.75),(1778.8,546.75),(1778.8,497),(1780.155,497),(1780.155,546.75),(1780.6,546.75),(1780.6,497),(1781.955,497),(1781.955,546.75),(1782.4,546.75),(1782.4,497),(1783.755,497),(1783.755,546.75),(1784.2,546.75),(1784.2,497),(1785.555,497),(1785.555,546.75),(1786,546.75),(1786,497),(1787.355,497),(1787.355,546.75),(1787.8,546.75),(1787.8,497),(1789.155,497),(1789.155,546.75),(1789.6,546.75),(1789.6,497),(1790.955,497),(1790.955,546.75),(1791.4,546.75),(1791.4,497),(1792.755,497),(1792.755,546.75),(1793.2,546.75),(1793.2,497),(1794.555,497),(1794.555,546.75),(1795,546.75),(1795,497),(1816,497),(1816,494.5),(2064,494.5),(2064,434.5),(1774,434.5),(1774,283.5)],
  [(1784,283.5),(1784,424.5),(2074,424.5),(2074,504.5),(1812,504.5),(1812,547.5),(1795.9,547.5),(1795.9,497.75),(1795.455,497.75),(1795.455,547.5),(1794.1,547.5),(1794.1,497.75),(1793.655,497.75),(1793.655,547.5),(1792.3,547.5),(1792.3,497.75),(1791.855,497.75),(1791.855,547.5),(1790.5,547.5),(1790.5,497.75),(1790.055,497.75),(1790.055,547.5),(1788.7,547.5),(1788.7,497.75),(1788.255,497.75),(1788.255,547.5),(1786.9,547.5),(1786.9,497.75),(1786.455,497.75),(1786.455,547.5),(1785.1,547.5),(1785.1,497.75),(1784.655,497.75),(1784.655,547.5),(1783.3,547.5),(1783.3,497.75),(1782.855,497.75),(1782.855,547.5),(1781.5,547.5),(1781.5,497.75),(1781.055,497.75),(1781.055,547.5),(1779.7,547.5),(1779.7,497.75),(1779.255,497.75),(1779.255,547.5),(1777.9,547.5),(1777.9,497.75),(1777.455,497.75),(1777.455,547.5),(1776.1,547.5),(1776.1,497.75),(1775.655,497.75),(1775.655,547.5),(1774.3,547.5),(1774.3,497.75),(1773.855,497.75),(1773.855,547.5),(1772.5,547.5),(1772.5,497.75),(1772.055,497.75),(1772.055,547.5),(1770.7,547.5),(1770.7,497.75),(1770.255,497.75),(1770.255,547.5),(1768.9,547.5),(1768.9,497.75),(1768.455,497.75),(1768.455,547.5),(1767.1,547.5),(1767.1,497.75),(1766.655,497.75),(1766.655,547.5),(1765.3,547.5),(1765.3,497.75),(1764.855,497.75),(1764.855,547.5),(1763.5,547.5),(1763.5,497.75),(1763.055,497.75),(1763.055,547.5),(1761.7,547.5),(1761.7,497.75),(1761.255,497.75),(1761.255,547.5),(1759.9,547.5),(1759.9,497.75),(1759.455,497.75),(1759.455,547.5),(1758.1,547.5),(1758.1,497.75),(1757.655,497.75),(1757.655,547.5),(1756.3,547.5),(1756.3,497.75),(1755.855,497.75),(1755.855,547.5),(1754.5,547.5),(1754.5,497.75),(1754.055,497.75),(1754.055,547.5),(1752.7,547.5),(1752.7,497.75),(1752.255,497.75),(1752.255,547.5),(1750.9,547.5),(1750.9,497.75),(1750.455,497.75),(1750.455,547.5),(1749.1,547.5),(1749.1,497.75),(1748.655,497.75),(1748.655,547.5),(1747.3,547.5),(1747.3,497.75),(1746.855,497.75),(1746.855,547.5),(1745.5,547.5),(1745.5,497.75),(1745.055,497.75),(1745.055,547.5),(1743.7,547.5),(1743.7,497.75),(1743.255,497.75),(1743.255,547.5),(1741.9,547.5),(1741.9,497.75),(1741.455,497.75),(1741.455,547.5),(1740.1,547.5),(1740.1,497.75),(1739.655,497.75),(1739.655,547.5),(1738.3,547.5),(1738.3,497.75),(1737.855,497.75),(1737.855,547.5),(1736.5,547.5),(1736.5,497.75),(1736.055,497.75),(1736.055,547.5),(1734.7,547.5),(1734.7,497.75),(1734.255,497.75),(1734.255,547.5),(1732.9,547.5),(1732.9,497.75),(1732.455,497.75),(1732.455,547.5),(1731.1,547.5),(1731.1,497.75),(1730.655,497.75),(1730.655,547.5),(1729.3,547.5),(1729.3,497.75),(1728.855,497.75),(1728.855,547.5),(1727.5,547.5),(1727.5,497.75),(1727.055,497.75),(1727.055,547.5),(1725.7,547.5),(1725.7,497.75),(1725.255,497.75),(1725.255,547.5),(1723.9,547.5),(1723.9,497.75),(1723.455,497.75),(1723.455,547.5),(1722.1,547.5),(1722.1,497.75),(1721.655,497.75),(1721.655,547.5),(1720.3,547.5),(1720.3,497.75),(1719.855,497.75),(1719.855,547.5),(1718.5,547.5),(1718.5,497.75),(1718.055,497.75),(1718.055,547.5),(1716.7,547.5),(1716.7,497.75),(1716.255,497.75),(1716.255,547.5),(1714.9,547.5),(1714.9,497.75),(1714.455,497.75),(1714.455,547.5),(1713.1,547.5),(1713.1,497.75),(1712.655,497.75),(1712.655,547.5),(1711.3,547.5),(1711.3,497.75),(1710.855,497.75),(1710.855,547.5),(1709.5,547.5),(1709.5,497.75),(1709.055,497.75),(1709.055,547.5),(1707.7,547.5),(1707.7,497.75),(1707.255,497.75),(1707.255,547.5),(1696,547.5),(1696,552.5),(1812,552.5),(1812,620),(2114,620),(2114,283.5),(1784,283.5)])

lib.write_gds('IDT_sweep.gds')
